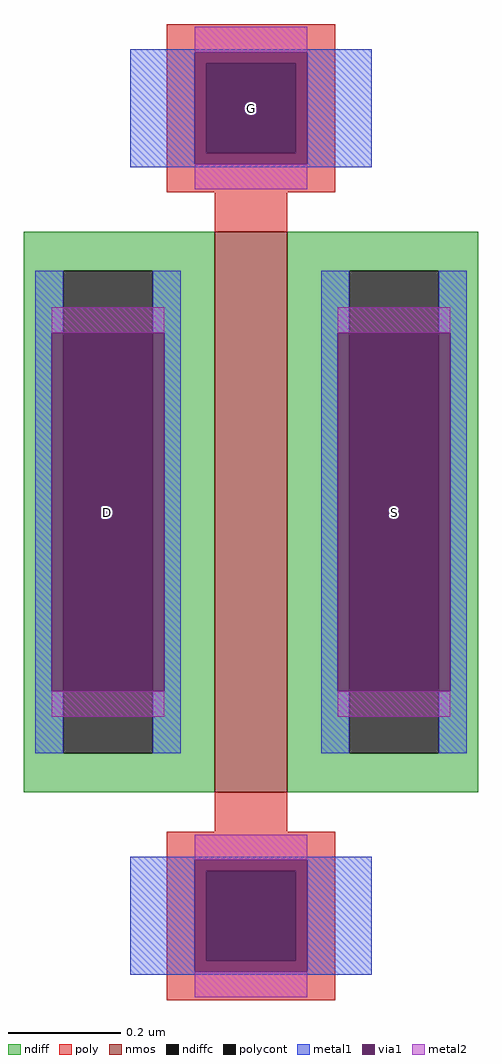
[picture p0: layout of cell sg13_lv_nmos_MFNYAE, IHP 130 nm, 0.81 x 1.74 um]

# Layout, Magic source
magic
tech ihp-sg13g2
magscale 1 2
<< nmos >>
rect -13 -100 13 100
<< ndiff >>
rect -81 86 -13 100
rect -81 -86 -67 86
rect -35 -86 -13 86
rect -81 -100 -13 -86
rect 13 86 81 100
rect 13 -86 35 86
rect 67 -86 81 86
rect 13 -100 81 -86
<< ndiffc >>
rect -67 -86 -35 86
rect 35 -86 67 86
<< poly >>
rect -30 160 30 174
rect -30 128 -16 160
rect 16 128 30 160
rect -30 114 30 128
rect -13 100 13 114
rect -13 -114 13 -100
rect -30 -128 30 -114
rect -30 -160 -16 -128
rect 16 -160 30 -128
rect -30 -174 30 -160
<< polycont >>
rect -16 128 16 160
rect -16 -160 16 -128
<< metal1 >>
rect -43 164 43 165
rect -43 124 -20 164
rect 20 124 43 164
rect -43 123 43 124
rect -77 64 -67 86
rect -35 64 -25 86
rect -77 -64 -71 64
rect -31 -64 -25 64
rect -77 -86 -67 -64
rect -35 -86 -25 -64
rect 25 64 35 86
rect 67 64 77 86
rect 25 -64 31 64
rect 71 -64 77 64
rect 25 -86 35 -64
rect 67 -86 77 -64
rect -43 -124 43 -123
rect -43 -164 -20 -124
rect 20 -164 43 -124
rect -43 -165 43 -164
<< via1 >>
rect -20 160 20 164
rect -20 128 -16 160
rect -16 128 16 160
rect 16 128 20 160
rect -20 124 20 128
rect -71 -64 -67 64
rect -67 -64 -35 64
rect -35 -64 -31 64
rect 31 -64 35 64
rect 35 -64 67 64
rect 67 -64 71 64
rect -20 -128 20 -124
rect -20 -160 -16 -128
rect -16 -160 16 -128
rect 16 -160 20 -128
rect -20 -164 20 -160
<< metal2 >>
rect -20 164 20 173
rect -20 115 20 124
rect -71 64 -31 73
rect -71 -73 -31 -64
rect 31 64 71 73
rect 31 -73 71 -64
rect -20 -124 20 -115
rect -20 -173 20 -164
<< labels >>
rlabel ndiffc -51 0 -51 0 0 D
port 1 nsew
rlabel ndiffc 51 0 51 0 0 S
port 2 nsew
rlabel polycont 0 144 0 144 0 G
port 3 nsew
<< properties >>
string gencell sg13_lv_nmos
string library sg13g2
string parameters w 1 l 0.13 m 1 nf 1 diffcov 100 polycov 100 guard 0 glc 1 grc 1 gtc 1 gbc 1 tbcov 100 rlcov 100 topc 1 botc 1 poverlap 0 doverlap 1 lmin 0.13 wmin 0.15 class mosfet compatible {sg13_lv_nmos sg13_hv_nmos} full_metal 1 conn_gates 0 gate_ring 0 doports 1 viasrc 100 viadrn 100 viagate 100 ccols 1 viagb 0 viagr 0 viagl 0 viagt 0
<< end >>
